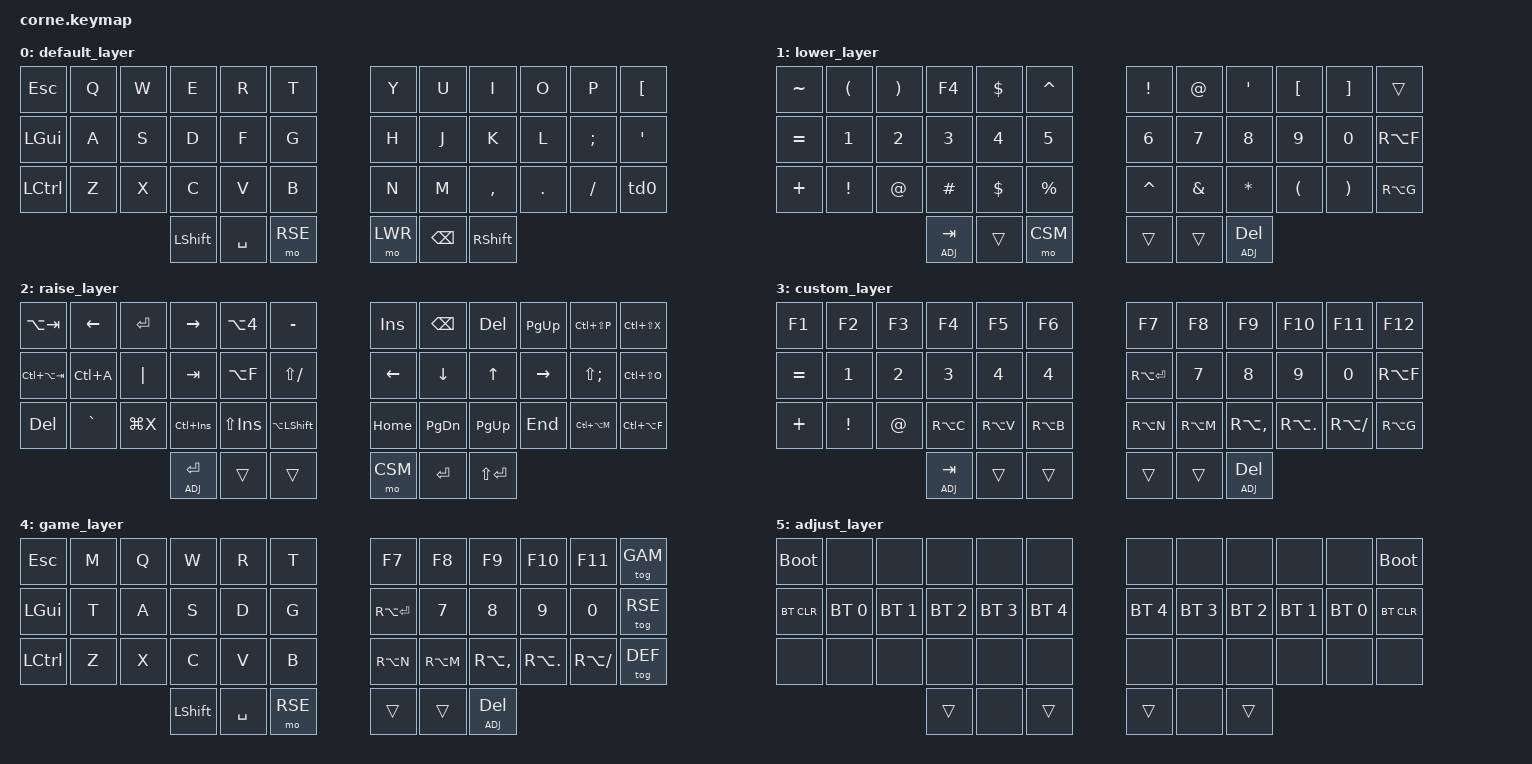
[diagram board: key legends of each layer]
                                                                                                /*
                                                                                                * Copyright (c) 2021 Rafael Yumagulov
                                                                                                *
                                                                                                * SPDX-License-Identifier: MITh                          основной комп на 0-й слот (буква A) , ноутбук на 4-й (буква F)
                                                                                                */

                                                                                                #include <behaviors.dtsi>
                                                                                                #include <dt-bindings/zmk/keys.h>
                                                                                                #include <dt-bindings/zmk/bt.h>

                                                                                                #define DEF 0
                                                                                                #define LWR 1
                                                                                                #define RSE 2
                                                                                                #define CSM 3
                                                                                                #define GAM 4
                                                                                                #define ADJ 5


                                                                                                &lt { quick_tap_ms = <200>; };
                                                                                                &mt { quick_tap_ms = <200>; };

                                                                                                / {
                                                                                                behaviors {
                                                                                                        td0: tap_dance_0 {
                                                                                                        compatible = "zmk,behavior-tap-dance";
                                                                                                        label = "TAP_DANCE_0";
                                                                                                        #binding-cells = <0>;
                                                                                                        tapping-term-ms = <200>;
                                                                                                        bindings = <&kp RBKT>, <&tog GAM>, <&kp PLUS>;
                                                                                                        };
                                                                                                };
                                                                                                        keymap {
                                                                                                                compatible = "zmk,keymap";

                                                                                                                default_layer {
                                                                                                // --------------------------------------------------------------------------------------------------------------------------------------------------------------------------------------------
                                                                                                // |    ESC      |      Qs      |      W      |      E      |      R      |      T      |                  |      Y      |      U      |      I      |      O      |      P      |      [      |
                                                                                                // |    LGUI     |      A      |      S      |      D      |      F      |      G      |                  |      H      |      J      |      K      |      L      |      ;      |      '      |
                                                                                                // |    LCTL     |      Z      |      X      |      C      |      V      |      B      |                  |      N      |      M      |      ,      |      .      |      /      |      ]      |
                                                                                                //                                           |     SHFT    |    SPACE    |     RSE     |                  |     LWR     |     BSPC    |     SHFT    |
                                                                                                                        bindings = <            
                                                                                                     &kp ESC          &kp Q         &kp W         &kp E         &kp R         &kp T                            &kp Y         &kp U          &kp I       &kp O          &kp P        &kp LBKT
                                                                                                     &kp LGUI         &kp A         &kp S         &kp D         &kp F         &kp G                            &kp H         &kp J          &kp K       &kp L         &kp SEMI      &kp SQT
                                                                                                     &kp LCTRL        &kp Z         &kp X         &kp C         &kp V         &kp B                            &kp N         &kp M        &kp COMMA    &kp DOT        &kp FSLH        &td0           
                                                                                                                                                &kp LSHFT     &kp SPACE      &mo RSE                          &mo LWR       &kp BSPC      &kp RSHFT
                                                                                                                        >;
                                                                                                                };
                                                                                                                lower_layer {
                                                                                                // --------------------------------------------------------------------------------------------------------------------------------------------------------------------------------------------
                                                                                                // |      ~      |      (      |      )      |      F4     |      ;      |      :      |                  |      !      |      "      |      Э      |      Х      |      Ъ      |      ,      |
                                                                                                // |      =      |      1      |      2      |      3      |      4      |      5      |                  |      6      |      7      |      8      |      9      |      0      |     A+F     |
                                                                                                // |      +      |      !      |      @      |      #      |      $      |      %      |                  |      ^      |      &      |      *      |      (      |      )      |      -      |
                                                                                                //                                           |             |             | Custom Layer|                  |             |             |             |
                                                                                                                        bindings = <
                                                                                                      &kp TILDE     &kp LPAR      &kp RPAR       &kp F4       &kp DLLR      &kp CARET                         &kp EXCL      &kp AT       &kp SQT       &kp LBKT      &kp RBKT      &trans  
                                                                                                      &kp EQUAL      &kp N1        &kp N2        &kp N3        &kp N4        &kp N5                           &kp N6        &kp N7        &kp N8        &kp N9        &kp N0       &kp RA(F)
                                                                                                      &kp PLUS       &kp EXCL      &kp AT       &kp HASH      &kp DLLR      &kp PRCNT                         &kp CARET     &kp AMPS      &kp STAR      &kp LPAR      &kp RPAR      &kp RA(G)
                                                                                                                                               &lt ADJ TAB    &trans        &mo CSM                           &trans        &trans      &lt ADJ DEL
                                                                                                                        >;
                                                                                                                };

                                                                                                                raise_layer {
                                                                                                // -----------------------------------------------------------------------------------------------------------------------------------------------------------
                                                                                                // |  Alt+Tab    |    Alt+F1   |     Alt+F2  |    Alt+3    |    Alt+4    |    MINUS    |                  |     INS     |     BSPC    |     DEL     |      PGUP   |     SCLK    |     CLCK    |
                                                                                                // |&kp LA(LSHFT)|     C+a     |       |     |     TAB     |    Alt+F    |      ,      |                  |     LEFT    |     DOWN    |     UP      |      RGHT   |     INS     |     APP     |
                                                                                                // |             |      ~      |     Win+x   |  Ctrl+Ins   |  Shift+Ins  |     A+S     |                  |     HOME    |     PGDN    |     PGUP    |      END    |     PAUS    |             |
                                                                                                //                                           |     ADJ     |             |             |                  | Custom Layer|             |             |
                                                                                                                        bindings = <
                                                                                                     &kp LA(TAB)    &kp LEFT      &kp ENTER     &kp RIGHT    &kp LA(N4)    &kp MINUS                          &kp INS      &kp BSPC       &kp DEL      &kp PG_UP     &kp LC(LS(P)) &kp LC(LS(X))
                                                                                                   &kp LC(LA(TAB))  &kp LC(A)     &kp PIPE      &kp TAB      &kp LA(F)     &kp LS(FSLH)                       &kp LEFT     &kp DOWN       &kp UP       &kp RIGHT     &kp LS(SEMI)  &kp LC(LS(O))
                                                                                                       &kp DEL      &kp GRAVE     &kp LG(X)     &kp LC(INS)  &kp LS(INS)   &kp LA(LSHFT)                       &kp HOME     &kp PG_DN      &kp PG_UP     &kp END     &kp LC(LA(M)) &kp LC(LA(F))
                                                                                                                                                &lt ADJ RET    &trans         &trans                          &mo CSM      &kp ENTER      &kp LS(ENTER)
                                                                                                                        >;
                                                                                                                };
                                                                                                                custom_layer {
                                                                                                // --------------------------------------------------------------------------------------------------------------------------------------------------------------------------------------------
                                                                                                // |      F1     |      F2     |      F3     |      F4     |      F5     |      F6     |                  |      F7     |      F8     |      F9     |     F10     |     F11     |     F12     |
                                                                                                // |      =      |      1      |      2      |      3      |      4      |     GAM     |                  |  ALT+ENTER  |      7      |      8      |      9      |      0      |     A+F     |
                                                                                                // |      +      |      !      |      @      |      #      |      $      |      %      |                  |    ALT+N    |    ALT+M    |      *      |      (      |      )      |      -      |
                                                                                                //                                           |             |             |             |                  |             |             |             |
                                                                                                                        bindings = <
                                                                                                       &kp F1        &kp F2         &kp F3        &kp F4        &kp F5        &kp F6                          &kp F7         &kp F8        &kp F9        &kp F10      &kp F11       &kp F12  
                                                                                                      &kp EQUAL      &kp N1         &kp N2        &kp N3        &kp N4        &kp N4                          &kp RA(ENTER)  &kp N7        &kp N8        &kp N9       &kp N0        &kp RA(F)
                                                                                                      &kp PLUS       &kp EXCL       &kp AT       &kp RA(C)     &kp RA(V)      &kp RA(B)                       &kp RA(N)      &kp RA(M)   &kp RA(COMMA) &kp RA(DOT)  &kp RA(FSLH)    &kp RA(G)
                                                                                                                                                &lt ADJ TAB     &trans        &trans                          &trans         &trans      &lt ADJ DEL
                                                                                                                        >;
                                                                                                                };
                                                                                                                game_layer {
                                                                                                // --------------------------------------------------------------------------------------------------------------------------------------------------------------------------------------------
                                                                                                // |      F1     |      F2     |      F3     |      F4     |      F5     |      F6     |                  |      F7     |      F8     |      F9     |     F10     |     F11     |   &tog GAM  |
                                                                                                // |      =      |      1      |      2      |      3      |      4      |      5      |                  |      6      |      7      |      8      |      9      |      0      |     A+F     |
                                                                                                // |      +      |      !      |      @      |      #      |      $      |      %      |                  |      ^      |      &      |      *      |      (      |      )      |      -      |
                                                                                                //                                           |     GUI     |             |     SPC     |                  |     ENT     |             |     ALT     |
                                                                                                                        bindings = <
                                                                                                      &kp ESC          &kp M         &kp Q         &kp W         &kp R         &kp T                        &kp F7         &kp F8        &kp F9        &kp F10        &kp F11       &tog GAM  
                                                                                                      &kp LGUI         &kp T         &kp A         &kp S         &kp D         &kp G                        &kp RA(ENTER)  &kp N7        &kp N8        &kp N9         &kp N0        &tog RSE
                                                                                                      &kp LCTRL        &kp Z         &kp X         &kp C         &kp V         &kp B                        &kp RA(N)      &kp RA(M)   &kp RA(COMMA)  &kp RA(DOT)  &kp RA(FSLH)     &tog DEF
                                                                                                                                                &kp LSHFT     &kp SPACE      &mo RSE                         &trans         &trans      &lt ADJ DEL
                                                                                                                        >;
                                                                                                                };
                                                                                                                adjust_layer {
                                                                                                // -----------------------------------------------------------------------------------------
                                                                                                // |     BLDR    |             |             |             |             |             |                  |             |             |             |             |             |    BLDR     |
                                                                                                // |     BTCLR   |    BT0      |     BT1     |     BT2     |     BT3     |     BT4     |                  |     BT4     |     BT3     |     BT2     |     BT1     |     BT0     |    BTCLR    |
                                                                                                // |             |             |             |             |             |             |                  |             |             |             |             |             |             |
                                                                                                //                                           |             |             |             |                  |             |             |             |
                                                                                                                        bindings = <
                                                                                                     &bootloader     &none          &none         &none         &none         &none                            &none         &none         &none         &none         &none      &bootloader
                                                                                                      &bt BT_CLR   &bt BT_SEL 0  &bt BT_SEL 1  &bt BT_SEL 2  &bt BT_SEL 3  &bt BT_SEL 4                    &bt BT_SEL 4   &bt BT_SEL 3  &bt BT_SEL 2  &bt BT_SEL 1  &bt BT_SEL 0   &bt BT_CLR
                                                                                                        &none        &none          &none         &none         &none         &none                            &none         &none         &none         &none         &none         &none
                                                                                                                                                  &trans        &none         &trans                           &trans        &none         &trans
                                                                                                                        >;
                                                                                                                };
                                                                                                        };
                                                                                                };
